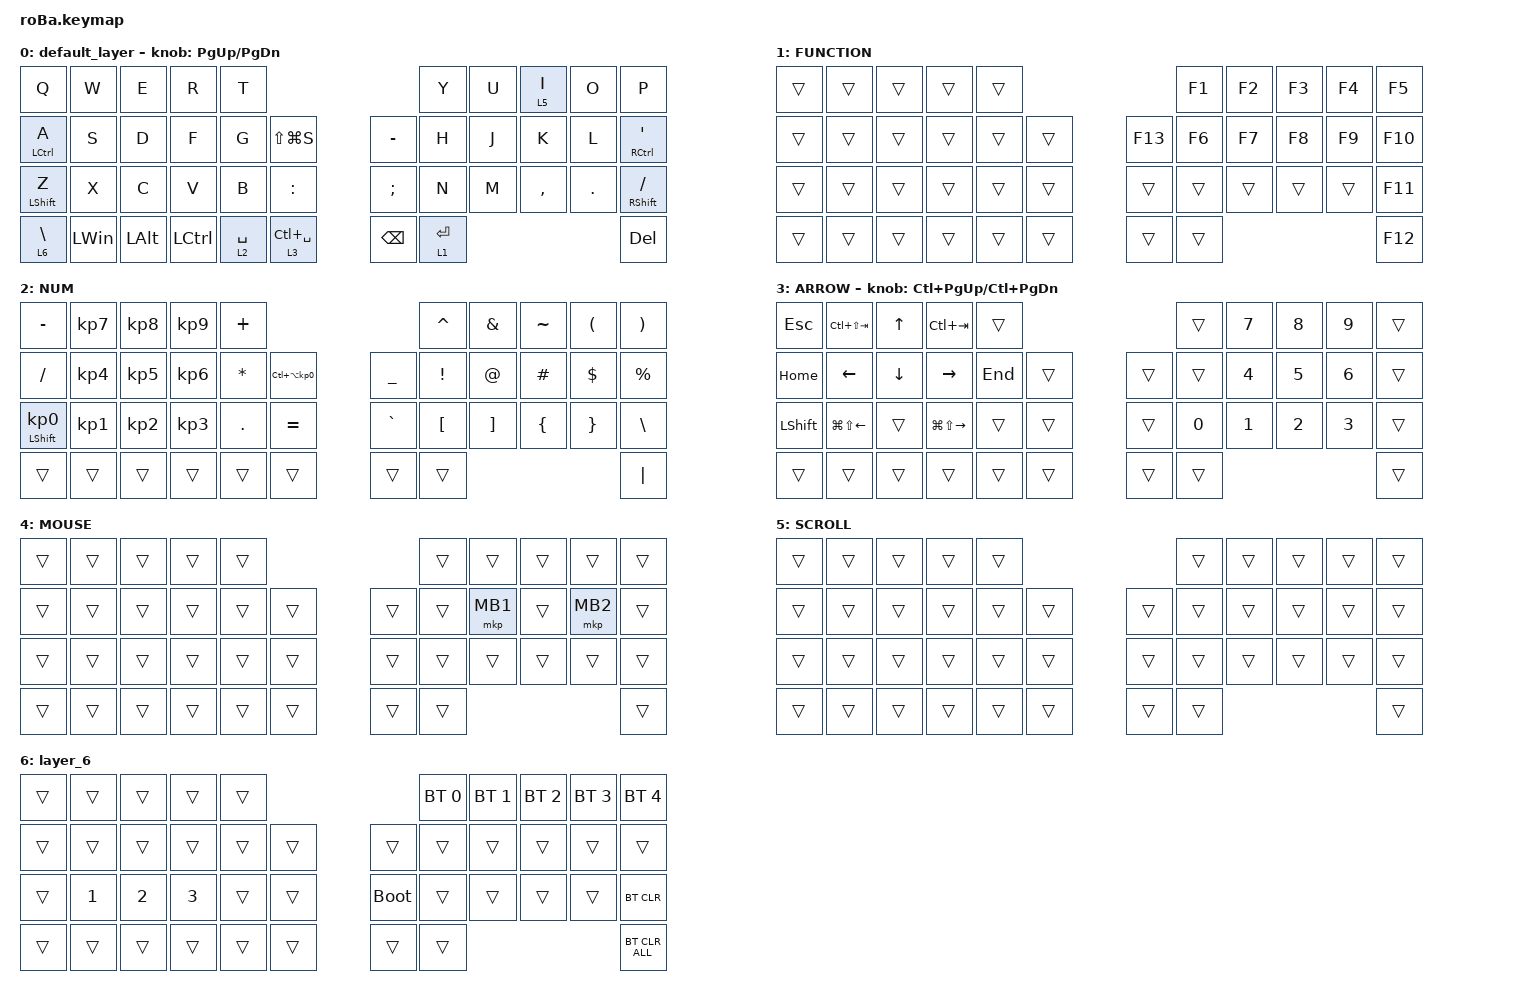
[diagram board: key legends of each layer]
#include <behaviors.dtsi>
#include <dt-bindings/zmk/bt.h>
#include <dt-bindings/zmk/keys.h>
#include <dt-bindings/zmk/pointing.h>

&mt {
    flavor = "balanced";
    quick-tap-ms = <0>;
};

&trackball {
    automouse-layer = <4>;
    scroll-layers = <5>;

    // arrows {
    //     layers = <3>;
    //     bindings =
    //         <&kp RIGHT_ARROW>,
    //         <&kp LEFT_ARROW>,
    //         <&kp UP_ARROW>,
    //         <&kp DOWN_ARROW>;
    //     tick = <10>;
    //     wait-ms = <5>;
    //     tap-ms = <5>;
    // };
};

/ {
    combos {
        compatible = "zmk,combos";

        tab {
            bindings = <&kp TAB>;
            key-positions = <11 12>;
        };

        shift_tab {
            bindings = <&kp LS(TAB)>;
            key-positions = <12 13>;
        };

        double_quotation {
            bindings = <&kp DOUBLE_QUOTES>;
            key-positions = <20 21>;
        };

        eq {
            bindings = <&kp EQUAL>;
            key-positions = <24 25>;
        };

        mb1 {
            bindings = <&mkp MB1>;
            key-positions = <18 19>;
        };

        mb2 {
            bindings = <&mkp MB2>;
            key-positions = <19 20>;
        };

        back {
            bindings = <&mkp MB4>;
            key-positions = <18 19 20>;
        };
    };

    macros {
        to_layer_0: to_layer_0 {
            compatible = "zmk,behavior-macro-one-param";
            #binding-cells = <1>;
            bindings = <&to 0 &macro_param_1to1 &kp MACRO_PLACEHOLDER>;
            label = "TO_LAYER_0";
        };
    };

    behaviors {
        lt_to_layer_0: lt_to_layer_0 {
            compatible = "zmk,behavior-hold-tap";
            label = "LAYER_TAP_TO_0";
            bindings = <&mo>, <&to_layer_0>;

            #binding-cells = <2>;
            tapping-term-ms = <200>;
        };
    };

    keymap {
        compatible = "zmk,keymap";

        default_layer {
            bindings = <
&kp Q               &kp W         &kp E         &kp R             &kp T                                                       &kp Y        &kp U  &lt 5 I    &kp O    &kp P
&mt LEFT_CONTROL A  &kp S         &kp D         &kp F             &kp G        &kp LS(LG(S))                   &kp MINUS      &kp H        &kp J  &kp K      &kp L    &mt RIGHT_CONTROL SINGLE_QUOTE
&mt LEFT_SHIFT Z    &kp X         &kp C         &kp V             &kp B        &kp COLON                       &kp SEMICOLON  &kp N        &kp M  &kp COMMA  &kp DOT  &mt RIGHT_SHIFT SLASH
&lt 6 BACKSLASH     &kp LEFT_WIN  &kp LEFT_ALT  &kp LEFT_CONTROL  &lt 2 SPACE  &lt_to_layer_0 3 LC(SPACE)      &kp BACKSPACE  &lt 1 ENTER                             &kp DEL
            >;

            sensor-bindings = <&inc_dec_kp PG_UP PAGE_DOWN>;
        };

        FUNCTION {
            bindings = <
&trans  &trans  &trans  &trans  &trans                       &kp F1  &kp F2  &kp F3  &kp F4  &kp F5
&trans  &trans  &trans  &trans  &trans  &trans      &kp F13  &kp F6  &kp F7  &kp F8  &kp F9  &kp F10
&trans  &trans  &trans  &trans  &trans  &trans      &trans   &trans  &trans  &trans  &trans  &kp F11
&trans  &trans  &trans  &trans  &trans  &trans      &trans   &trans                          &kp F12
            >;
        };

        NUM {
            bindings = <
&kp MINUS                   &kp KP_NUMBER_7  &kp KP_NUMBER_8  &kp KP_NUMBER_9  &kp PLUS                                                   &kp CARET         &kp AMPERSAND      &kp TILDE       &kp LEFT_PARENTHESIS  &kp RIGHT_PARENTHESIS
&kp SLASH                   &kp KP_NUMBER_4  &kp KP_NUMBER_5  &kp KP_NUMBER_6  &kp ASTERISK  &kp LC(LA(KP_NUMBER_0))      &kp UNDERSCORE  &kp EXCLAMATION   &kp AT_SIGN        &kp HASH        &kp DOLLAR            &kp PERCENT
&mt LEFT_SHIFT KP_NUMBER_0  &kp KP_NUMBER_1  &kp KP_NUMBER_2  &kp KP_NUMBER_3  &kp PERIOD    &kp EQUAL                    &kp GRAVE       &kp LEFT_BRACKET  &kp RIGHT_BRACKET  &kp LEFT_BRACE  &kp RIGHT_BRACE       &kp BACKSLASH
&trans                      &trans           &trans           &trans           &trans        &trans                       &trans          &trans                                                                     &kp PIPE
            >;
        };

        ARROW {
            bindings = <
&kp ESCAPE      &kp LC(LS(TAB))         &kp UP_ARROW    &kp LC(TAB)              &trans                       &trans  &kp N7        &kp N8        &kp N9        &trans
&kp HOME        &kp LEFT_ARROW          &kp DOWN_ARROW  &kp RIGHT_ARROW          &kp END  &trans      &trans  &trans  &kp NUMBER_4  &kp N5        &kp NUMBER_6  &trans
&kp LEFT_SHIFT  &kp LG(LS(LEFT_ARROW))  &trans          &kp LG(LS(RIGHT_ARROW))  &trans   &trans      &trans  &kp N0  &kp NUMBER_1  &kp NUMBER_2  &kp NUMBER_3  &trans
&trans          &trans                  &trans          &trans                   &trans   &trans      &trans  &trans                                            &trans
            >;

            sensor-bindings = <&inc_dec_kp LC(PAGE_UP) LC(PAGE_DOWN)>;
        };

        MOUSE {
            bindings = <
&trans  &trans  &trans  &trans  &trans                      &trans  &trans    &trans  &trans    &trans
&trans  &trans  &trans  &trans  &trans  &trans      &trans  &trans  &mkp MB1  &trans  &mkp MB2  &trans
&trans  &trans  &trans  &trans  &trans  &trans      &trans  &trans  &trans    &trans  &trans    &trans
&trans  &trans  &trans  &trans  &trans  &trans      &trans  &trans                              &trans
            >;
        };

        SCROLL {
            bindings = <
&trans  &trans  &trans  &trans  &trans                      &trans  &trans  &trans  &trans  &trans
&trans  &trans  &trans  &trans  &trans  &trans      &trans  &trans  &trans  &trans  &trans  &trans
&trans  &trans  &trans  &trans  &trans  &trans      &trans  &trans  &trans  &trans  &trans  &trans
&trans  &trans  &trans  &trans  &trans  &trans      &trans  &trans                          &trans
            >;
        };

        layer_6 {
            bindings = <
&trans  &trans        &trans        &trans        &trans                           &bt BT_SEL 0  &bt BT_SEL 1  &bt BT_SEL 2  &bt BT_SEL 3  &bt BT_SEL 4
&trans  &trans        &trans        &trans        &trans  &trans      &trans       &trans        &trans        &trans        &trans        &trans
&trans  &kp NUMBER_1  &kp NUMBER_2  &kp NUMBER_3  &trans  &trans      &bootloader  &trans        &trans        &trans        &trans        &bt BT_CLR
&trans  &trans        &trans        &trans        &trans  &trans      &trans       &trans                                                  &bt BT_CLR_ALL
            >;
        };
    };
};
